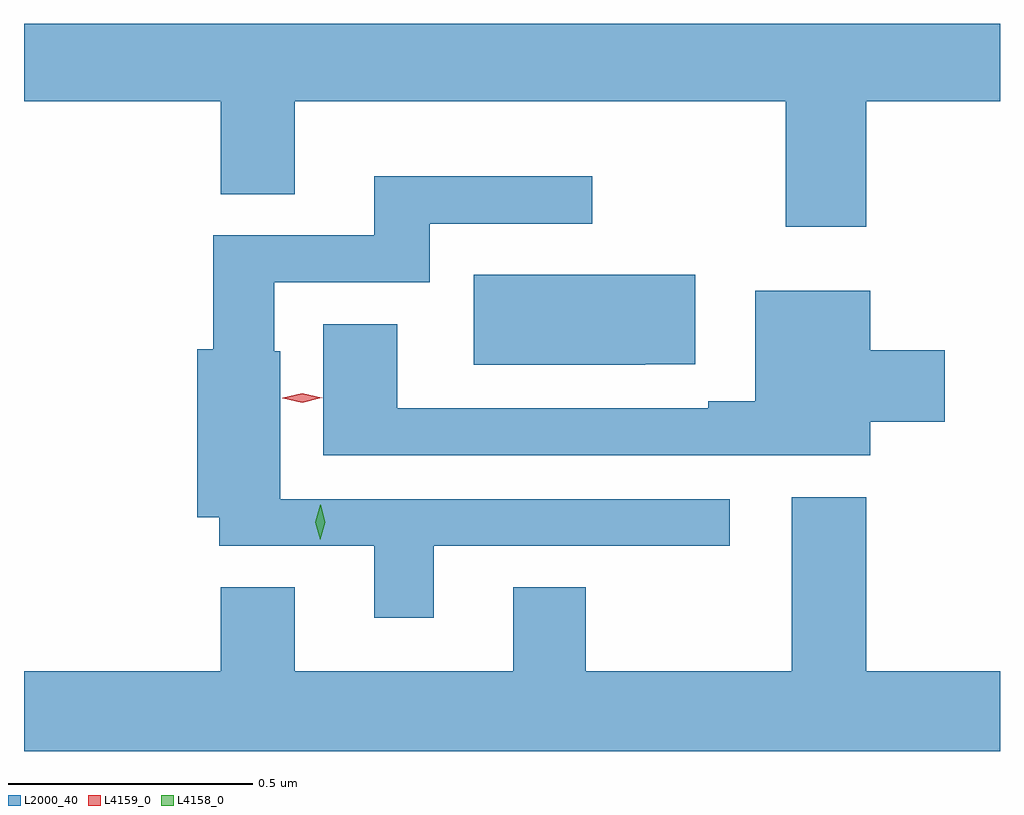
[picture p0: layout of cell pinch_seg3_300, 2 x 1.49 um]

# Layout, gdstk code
import gdstk
lib = gdstk.Library(unit=1e-6, precision=1e-09)
def P(c, l, *ps):  # polygons
    for p in ps: c.add(gdstk.Polygon(p, *l))
L2000_40 = (2000, 40)
L4158_0 = (4158, 0)
L4159_0 = (4159, 0)

pinch_seg3_300 = lib.new_cell('pinch_seg3_300')
P(pinch_seg3_300, L2000_40, [(1012.856,720.896),(1013.13,720.896),(1013.13,721.055),(1011.13,721.055),(1011.13,720.896),(1011.533,720.896),(1011.533,720.706),(1011.685,720.706),(1011.685,720.896),(1012.691,720.896),(1012.691,720.639),(1012.856,720.639)],
  [(1011.97,719.985),(1012.576,719.985),(1012.576,720.081),(1011.655,720.081),(1011.655,720.384),(1011.643,720.384),(1011.643,720.525),(1011.961,720.525),(1011.961,720.645),(1012.294,720.645),(1012.294,720.742),(1011.848,720.742),(1011.848,720.621),(1011.518,720.621),(1011.518,720.388),(1011.485,720.388),(1011.485,720.044),(1011.53,720.044),(1011.53,719.985),(1011.848,719.985),(1011.848,719.838),(1011.97,719.838)],
  [(1012.403,720.357),(1012.506,720.357),(1012.506,720.541),(1012.052,720.541),(1012.052,720.356),(1012.403,720.356)],
  [(1012.864,720.239),(1013.017,720.239),(1013.017,720.386),(1012.864,720.386),(1012.864,720.508),(1012.628,720.508),(1012.628,720.281),(1012.532,720.281),(1012.532,720.267),(1011.895,720.267),(1011.895,720.439),(1011.743,720.439),(1011.743,720.171),(1012.864,720.171)],
  [(1013.13,719.728),(1012.856,719.728),(1012.856,720.085),(1012.703,720.085),(1012.703,719.728),(1012.281,719.728),(1012.281,719.9),(1012.133,719.9),(1012.133,719.728),(1011.685,719.728),(1011.685,719.9),(1011.533,719.9),(1011.533,719.728),(1011.13,719.728),(1011.13,719.564),(1013.13,719.564)])
P(pinch_seg3_300, L4158_0, [(1011.737,719.998),(1011.737,719.998),(1011.727,720.033),(1011.737,720.069),(1011.737,720.069),(1011.738,720.069),(1011.747,720.033),(1011.737,719.998)])
P(pinch_seg3_300, L4159_0, [(1011.7,720.278),(1011.66,720.287),(1011.659,720.287),(1011.66,720.288),(1011.7,720.298),(1011.74,720.288),(1011.741,720.288),(1011.74,720.288)])

lib.write_gds('pinch_seg3_300.gds')
